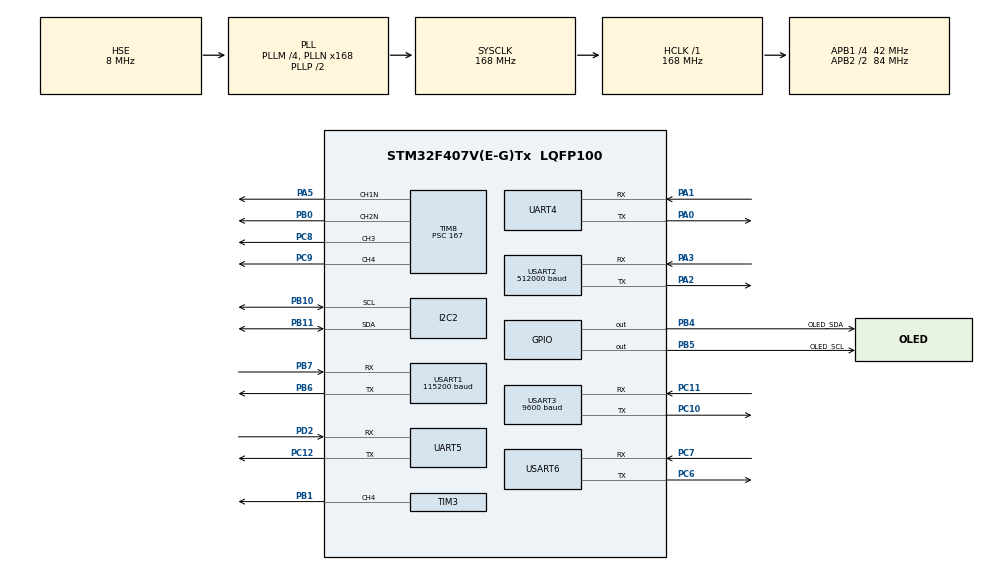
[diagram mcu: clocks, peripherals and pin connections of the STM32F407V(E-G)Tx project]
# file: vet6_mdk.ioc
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Dma.Request0=USART2_TX
Dma.Request1=UART5_RX
Dma.UART5_RX.1.Direction=DMA_PERIPH_TO_MEMORY
Dma.UART5_RX.1.FIFOMode=DMA_FIFOMODE_ENABLE
Dma.UART5_RX.1.FIFOThreshold=DMA_FIFO_THRESHOLD_FULL
Dma.UART5_RX.1.Instance=DMA1_Stream0
Dma.UART5_RX.1.MemBurst=DMA_MBURST_SINGLE
Dma.UART5_RX.1.MemDataAlignment=DMA_MDATAALIGN_BYTE
Dma.UART5_RX.1.MemInc=DMA_MINC_ENABLE
Dma.UART5_RX.1.Mode=DMA_NORMAL
Dma.UART5_RX.1.PeriphBurst=DMA_PBURST_SINGLE
Dma.UART5_RX.1.PeriphDataAlignment=DMA_PDATAALIGN_BYTE
Dma.UART5_RX.1.PeriphInc=DMA_PINC_DISABLE
Dma.UART5_RX.1.Priority=DMA_PRIORITY_LOW
Dma.USART2_TX.0.Direction=DMA_MEMORY_TO_PERIPH
Dma.USART2_TX.0.FIFOMode=DMA_FIFOMODE_ENABLE
Dma.USART2_TX.0.FIFOThreshold=DMA_FIFO_THRESHOLD_FULL
Dma.USART2_TX.0.Instance=DMA1_Stream6
Dma.USART2_TX.0.MemBurst=DMA_MBURST_SINGLE
Dma.USART2_TX.0.MemDataAlignment=DMA_MDATAALIGN_BYTE
Dma.USART2_TX.0.MemInc=DMA_MINC_ENABLE
Dma.USART2_TX.0.Mode=DMA_NORMAL
Dma.USART2_TX.0.PeriphBurst=DMA_PBURST_SINGLE
Dma.USART2_TX.0.PeriphDataAlignment=DMA_PDATAALIGN_BYTE
Dma.USART2_TX.0.PeriphInc=DMA_PINC_DISABLE
Dma.USART2_TX.0.Priority=DMA_PRIORITY_LOW
FREERTOS.Tasks01=defaultTask,24,128,StartDefaultTask,Default,NULL,Dynamic,NULL,NULL;myTask02,20,256,StartTask02,Default,NULL,Dynamic,NULL,NULL;myTask03,21,256,StartTask03,Default,NULL,Dynamic,NULL,NULL;myTask04,22,256,StartTask04,Default,NULL,Dynamic,NULL,NULL;myTask05,23,256,StartTask05,Default,NULL,Dynamic,NULL,NULL
FREERTOS.configTOTAL_HEAP_SIZE=20480
Mcu.Family=STM32F4
Mcu.Name=STM32F407V(E-G)Tx
Mcu.Package=LQFP100
NVIC.DMA1_Stream0_IRQn=true\:5\:0\:false\:false\:true\:true\:false\:true\:true
NVIC.DMA1_Stream6_IRQn=true\:5\:0\:false\:false\:true\:true\:false\:true\:true
NVIC.PriorityGroup=NVIC_PRIORITYGROUP_4
NVIC.TIM6_DAC_IRQn=true\:15\:0\:true\:false\:true\:false\:false\:true\:true
NVIC.TimeBase=TIM6_DAC_IRQn
NVIC.TimeBaseIP=TIM6
NVIC.UART4_IRQn=true\:6\:0\:true\:false\:true\:true\:true\:true\:true
NVIC.UART5_IRQn=true\:6\:0\:true\:false\:true\:true\:true\:true\:true
NVIC.USART1_IRQn=true\:6\:0\:true\:false\:true\:true\:true\:true\:true
NVIC.USART2_IRQn=true\:6\:0\:true\:false\:true\:true\:true\:true\:true
NVIC.USART3_IRQn=true\:6\:0\:true\:false\:true\:true\:true\:true\:true
NVIC.USART6_IRQn=true\:5\:0\:false\:false\:true\:true\:true\:true\:true
PA0-WKUP.Mode=Asynchronous
PA0-WKUP.Signal=UART4_TX
PA1.Mode=Asynchronous
PA1.Signal=UART4_RX
PA13.Mode=Serial_Wire
PA13.Signal=SYS_JTMS-SWDIO
PA14.Mode=Serial_Wire
PA14.Signal=SYS_JTCK-SWCLK
PA2.Mode=Asynchronous
PA2.Signal=USART2_TX
PA3.Mode=Asynchronous
PA3.Signal=USART2_RX
PA5.Mode=PWM Generation1 CH1N
PA5.Signal=TIM8_CH1N
PB0.Mode=PWM Generation2 CH2N
PB0.Signal=TIM8_CH2N
PB1.Signal=S_TIM3_CH4
PB10.Mode=I2C
PB10.Signal=I2C2_SCL
PB11.Mode=I2C
PB11.Signal=I2C2_SDA
PB4.GPIO_Label=OLED_SDA
PB4.GPIO_ModeDefaultOutputPP=GPIO_MODE_OUTPUT_OD
PB4.GPIO_PuPd=GPIO_NOPULL
PB4.GPIO_Speed=GPIO_SPEED_FREQ_MEDIUM
PB4.PinState=GPIO_PIN_SET
PB4.Signal=GPIO_Output
PB5.GPIO_Label=OLED_SCL
PB5.GPIO_ModeDefaultOutputPP=GPIO_MODE_OUTPUT_OD
PB5.GPIO_PuPd=GPIO_NOPULL
PB5.GPIO_Speed=GPIO_SPEED_FREQ_MEDIUM
PB5.PinState=GPIO_PIN_SET
PB5.Signal=GPIO_Output
PB6.Mode=Asynchronous
PB6.Signal=USART1_TX
PB7.Mode=Asynchronous
PB7.Signal=USART1_RX
PC10.Mode=Asynchronous
PC10.Signal=USART3_TX
PC11.Mode=Asynchronous
PC11.Signal=USART3_RX
PC12.Mode=Asynchronous
PC12.Signal=UART5_TX
PC6.Mode=Asynchronous
PC6.Signal=USART6_TX
PC7.Mode=Asynchronous
PC7.Signal=USART6_RX
PC8.Signal=S_TIM8_CH3
PC9.Signal=S_TIM8_CH4
PD2.Mode=Asynchronous
PD2.Signal=UART5_RX
PH0-OSC_IN.Mode=HSE-External-Oscillator
PH0-OSC_IN.Signal=RCC_OSC_IN
PH1-OSC_OUT.Mode=HSE-External-Oscillator
PH1-OSC_OUT.Signal=RCC_OSC_OUT
ProjectManager.HeapSize=0x200
ProjectManager.StackSize=0x400
ProjectManager.TargetToolchain=MDK-ARM V5.27
RCC.48MHZClocksFreq_Value=84000000
RCC.AHBFreq_Value=168000000
RCC.APB1CLKDivider=RCC_HCLK_DIV4
RCC.APB1Freq_Value=42000000
RCC.APB1TimFreq_Value=84000000
RCC.APB2CLKDivider=RCC_HCLK_DIV2
RCC.APB2Freq_Value=84000000
RCC.APB2TimFreq_Value=168000000
RCC.CortexFreq_Value=168000000
RCC.HCLKFreq_Value=168000000
RCC.HSE_VALUE=8000000
RCC.HSI_VALUE=16000000
RCC.LSE_VALUE=32768
RCC.PLLM=4
RCC.PLLN=168
RCC.PLLSourceVirtual=RCC_PLLSOURCE_HSE
RCC.SYSCLKFreq_VALUE=168000000
RCC.SYSCLKSource=RCC_SYSCLKSOURCE_PLLCLK
RCC.VCOOutputFreq_Value=336000000
SH.S_TIM3_CH4.0=TIM3_CH4,PWM Generation4 CH4
SH.S_TIM8_CH3.0=TIM8_CH3,PWM Generation3 CH3
SH.S_TIM8_CH4.0=TIM8_CH4,PWM Generation4 CH4
TIM3.Channel-PWM\ Generation4\ CH4=TIM_CHANNEL_4
TIM3.Period=19999
TIM3.Prescaler=167
TIM7.Period=9999
TIM7.Prescaler=83
TIM8.Channel-PWM\ Generation1\ CH1N=TIM_CHANNEL_1
TIM8.Channel-PWM\ Generation2\ CH2N=TIM_CHANNEL_2
TIM8.Channel-PWM\ Generation3\ CH3=TIM_CHANNEL_3
TIM8.Channel-PWM\ Generation4\ CH4=TIM_CHANNEL_4
TIM8.Prescaler=167
UART4.VirtualMode=Asynchronous
UART5.VirtualMode=Asynchronous
USART1.BaudRate=115200
USART1.VirtualMode=VM_ASYNC
USART2.BaudRate=512000
USART2.VirtualMode=VM_ASYNC
USART3.BaudRate=9600
USART3.VirtualMode=VM_ASYNC
USART6.VirtualMode=VM_ASYNC
VP_FREERTOS_VS_CMSIS_V2.Mode=CMSIS_V2
VP_SYS_VS_tim6.Mode=TIM6
VP_TIM7_VS_ClockSourceINT.Mode=Enable_Timer
board=custom

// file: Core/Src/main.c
/* USER CODE BEGIN Header */
/**
  ******************************************************************************
  * @file           : main.c
  * @brief          : Main program body
  ******************************************************************************
  * @attention
  *
  * Copyright (c) 2026 STMicroelectronics.
  * All rights reserved.
  *
  * This software is licensed under terms that can be found in the LICENSE file
  * in the root directory of this software component.
  * If no LICENSE file comes with this software, it is provided AS-IS.
  *
  ******************************************************************************
  */
/* USER CODE END Header */
#include "main.h"
#include "cmsis_os.h"
#include "dma.h"
#include "i2c.h"
#include "tim.h"
#include "usart.h"
#include "gpio.h"

/* USER CODE BEGIN Includes */
#include "tim.h"
#include "usart.h"
#include "gpio.h"
#include "hwt101_hal.h"
//#include "oled.h"
#include "imu660rc.h"
#include "bujin.h"
#include "overroll.h"
#include "gangzhu_pid.h"
#include "app.h"
/* USER CODE END Includes */

/* USER CODE BEGIN PV */
    float roll, pitch, yaw;
/* USER CODE END PV */

void SystemClock_Config(void);
void MX_FREERTOS_Init(void);
/* USER CODE BEGIN PFP */
State MyPos = STATE_idle;                /* 当前状态机节点 */

/* USER CODE END PFP */

int main(void)
{

  /* MCU Configuration--------------------------------------------------------*/

  /* Reset of all peripherals, Initializes the Flash interface and the Systick. */
  HAL_Init();

  /* Configure the system clock */
  SystemClock_Config();

  /* Initialize all configured peripherals */
  MX_GPIO_Init();
  MX_DMA_Init();
  MX_UART4_Init();
  MX_UART5_Init();
  MX_USART1_UART_Init();
  MX_USART2_UART_Init();
  MX_USART3_UART_Init();
  MX_TIM3_Init();
  MX_TIM7_Init();
  MX_TIM8_Init();
  MX_USART6_UART_Init();
  MX_I2C2_Init();
  /* USER CODE BEGIN 2 */
//  Emm_V5_Set_Zero(5,1);
    HAL_Delay(1000);
   Emm_V5_Trigger_Zero(5, EMM_V5_ZERO_SINGLE_NEAREST, false);
     HAL_Delay(1000);

//   GangzhuPid_Init(&s_gangzhu_pid, 0.5f, 0.02f, 1.1f);
// GangzhuPid_Init(&s_gangzhu_pid,0.08f, 0.003f, 0.02f);
\
//GangzhuPid_Init(&s_gangzhu_pid, 0.64f, 0.65f, 0.0f);

//GangzhuPid_Init(&s_gangzhu_pid, 0.0f, 0.0f, 0.0f);
      GangzhuPid_Init(&s_gangzhu_pid, 0.44f, 0.04f, 0.05f);

// GangzhuPid_Init(&s_gangzhu_pid, 0.0f, 0.0f, 0.0f);

//  OLED_Init();
//  ICM42686_Init(NULL);  /* 移到 Task02 中执行，避免阻塞 main */
  /* USER CODE END 2 */

  /* Init scheduler */
  osKernelInitialize();  /* Call init function for freertos objects (in cmsis_os2.c) */
  MX_FREERTOS_Init();

  /* Start scheduler */
  osKernelStart();

  /* We should never get here as control is now taken by the scheduler */

  /* Infinite loop */
  while (1)
  {

  }
}

void SystemClock_Config(void)
{
  RCC_OscInitTypeDef RCC_OscInitStruct = {0};
  RCC_ClkInitTypeDef RCC_ClkInitStruct = {0};

  /** Configure the main internal regulator output voltage
  */
  __HAL_RCC_PWR_CLK_ENABLE();
  __HAL_PWR_VOLTAGESCALING_CONFIG(PWR_REGULATOR_VOLTAGE_SCALE1);

  /** Initializes the RCC Oscillators according to the specified parameters
  * in the RCC_OscInitTypeDef structure.
  */
  RCC_OscInitStruct.OscillatorType = RCC_OSCILLATORTYPE_HSE;
  RCC_OscInitStruct.HSEState = RCC_HSE_ON;
  RCC_OscInitStruct.PLL.PLLState = RCC_PLL_ON;
  RCC_OscInitStruct.PLL.PLLSource = RCC_PLLSOURCE_HSE;
  RCC_OscInitStruct.PLL.PLLM = 4;
  RCC_OscInitStruct.PLL.PLLN = 168;
  RCC_OscInitStruct.PLL.PLLP = RCC_PLLP_DIV2;
  RCC_OscInitStruct.PLL.PLLQ = 4;
  if (HAL_RCC_OscConfig(&RCC_OscInitStruct) != HAL_OK)
  {
    Error_Handler();
  }

  /** Initializes the CPU, AHB and APB buses clocks
  */
  RCC_ClkInitStruct.ClockType = RCC_CLOCKTYPE_HCLK|RCC_CLOCKTYPE_SYSCLK
                              |RCC_CLOCKTYPE_PCLK1|RCC_CLOCKTYPE_PCLK2;
  RCC_ClkInitStruct.SYSCLKSource = RCC_SYSCLKSOURCE_PLLCLK;
  RCC_ClkInitStruct.AHBCLKDivider = RCC_SYSCLK_DIV1;
  RCC_ClkInitStruct.APB1CLKDivider = RCC_HCLK_DIV4;
  RCC_ClkInitStruct.APB2CLKDivider = RCC_HCLK_DIV2;

  if (HAL_RCC_ClockConfig(&RCC_ClkInitStruct, FLASH_LATENCY_5) != HAL_OK)
  {
    Error_Handler();
  }
}

void HAL_TIM_PeriodElapsedCallback(TIM_HandleTypeDef *htim)
{
  if (htim->Instance == TIM6)
  {
    HAL_IncTick();
  }
}

void Error_Handler(void)
{
  __disable_irq();
  while (1)
  {
  }
}

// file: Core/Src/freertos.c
/* USER CODE BEGIN Header */
/**
  ******************************************************************************
  * File Name          : freertos.c
  * Description        : Code for freertos applications
  ******************************************************************************
  * @attention
  *
  * Copyright (c) 2026 STMicroelectronics.
  * All rights reserved.
  *
  * This software is licensed under terms that can be found in the LICENSE file
  * in the root directory of this software component.
  * If no LICENSE file comes with this software, it is provided AS-IS.
  *
  ******************************************************************************
  */
/* USER CODE END Header */

#include "FreeRTOS.h"
#include "task.h"
#include "main.h"
#include "cmsis_os.h"

/* USER CODE BEGIN Includes */
#include "tim.h"
#include "usart.h"
#include "gpio.h"
#include "hwt101_hal.h"
//#include "oled.h"
#include "imu660rc.h"
#include "bujin.h"
#include "overroll.h"
#include "app.h"
#include "UpperCP.h"
#include "gangzhu_pid.h"
//#include "i2c.h"
#include <stdio.h>
/* USER CODE END Includes */

/* Definitions for defaultTask */
osThreadId_t defaultTaskHandle;
const osThreadAttr_t defaultTask_attributes = {
  .name = "defaultTask",
  .stack_size = 128 * 4,
  .priority = (osPriority_t) osPriorityNormal,
};
/* Definitions for myTask02 */
osThreadId_t myTask02Handle;
const osThreadAttr_t myTask02_attributes = {
  .name = "myTask02",
  .stack_size = 768 * 4,
  .priority = (osPriority_t) osPriorityBelowNormal4,
};
/* Definitions for myTask03 */
osThreadId_t myTask03Handle;
const osThreadAttr_t myTask03_attributes = {
  .name = "myTask03",
  .stack_size = 512 * 4,
  .priority = (osPriority_t) osPriorityBelowNormal5,
};
/* Definitions for myTask04 */
osThreadId_t myTask04Handle;
const osThreadAttr_t myTask04_attributes = {
  .name = "myTask04",
  .stack_size = 256 * 4,
  .priority = (osPriority_t) osPriorityBelowNormal6,
};
/* Definitions for myTask05 */
osThreadId_t myTask05Handle;
const osThreadAttr_t myTask05_attributes = {
  .name = "myTask05",
  .stack_size = 256 * 4,
  .priority = (osPriority_t) osPriorityBelowNormal7,
};

void StartDefaultTask(void *argument);
void StartTask02(void *argument);
void StartTask03(void *argument);
void StartTask04(void *argument);
void StartTask05(void *argument);

void MX_FREERTOS_Init(void); /* (MISRA C 2004 rule 8.1) */

void MX_FREERTOS_Init(void) {

  /* Create the thread(s) */
  /* creation of defaultTask */
  defaultTaskHandle = osThreadNew(StartDefaultTask, NULL, &defaultTask_attributes);

  /* creation of myTask02 */
  myTask02Handle = osThreadNew(StartTask02, NULL, &myTask02_attributes);

  /* creation of myTask03 */
  myTask03Handle = osThreadNew(StartTask03, NULL, &myTask03_attributes);

  /* creation of myTask04 */
  myTask04Handle = osThreadNew(StartTask04, NULL, &myTask04_attributes);

  /* creation of myTask05 */
  myTask05Handle = osThreadNew(StartTask05, NULL, &myTask05_attributes);

}

void StartDefaultTask(void *argument)
{
  /* USER CODE BEGIN StartDefaultTask */

  /* Infinite loop */
  for(;;)
  {
    osDelay(100);
  }
  /* USER CODE END StartDefaultTask */
}

void StartTask02(void *argument)
{
  /* USER CODE BEGIN StartTask02 */

  imu660rc_init();
  imu660rc_calibrate();

  for(;;)
  {
    static uint32_t tick = 0;

    float acc_y = imu660rc_get_acc_y_filtered();
    GangzhuPid_SetAccFeedforward(acc_y);  /* 外部传入前馈值 (仿 PC set_car_acceleration_feedforward) */
    tick++;

    /* 每 50ms 打印一次 */
    if (tick % 5 == 0) {
        App_Uart6Printf("ACC_Y: %.3f ,%.1f\r\n", acc_y, (double)acc_cmp);
    }

    osDelay(10);  /* 100Hz 读取 */
  }
  /* USER CODE END StartTask02 */
}

void StartTask03(void *argument)
{
  /* USER CODE BEGIN StartTask03 */

  /* Infinite loop */
  for(;;)
  {
     /* g_robot_pos.yaw = Get_zeroYaw(); -- navigation.c removed */

    App_ProcessCommand();
     vTaskDelay(pdMS_TO_TICKS(20));
  }
  /* USER CODE END StartTask03 */
}

void StartTask04(void *argument)
{
  /* USER CODE BEGIN StartTask04 */

  /* Infinite loop */
  App_Init();
    /* PCA9685 module removed. Servo init calls commented out:

    */
//   Emm_V5_Pos_Control(5, 0, 50, 10, 40.0f, false, false);
  for(;;)
  {
      UpperCP_RX();
        if (gangzhu_err_updated != 0U) {
            gangzhu_err_updated = 0U;
        }
        Gangzhu_Control_Update();
    osDelay(10);
  }
  /* USER CODE END StartTask04 */
}

void StartTask05(void *argument)
{
  /* USER CODE BEGIN StartTask05 */
  // PCA9685_Set180Angle(1U, 0.0f);

  /* Infinite loop */
  for(;;)
  {

    osDelay(20);
  }
  /* USER CODE END StartTask05 */
}
